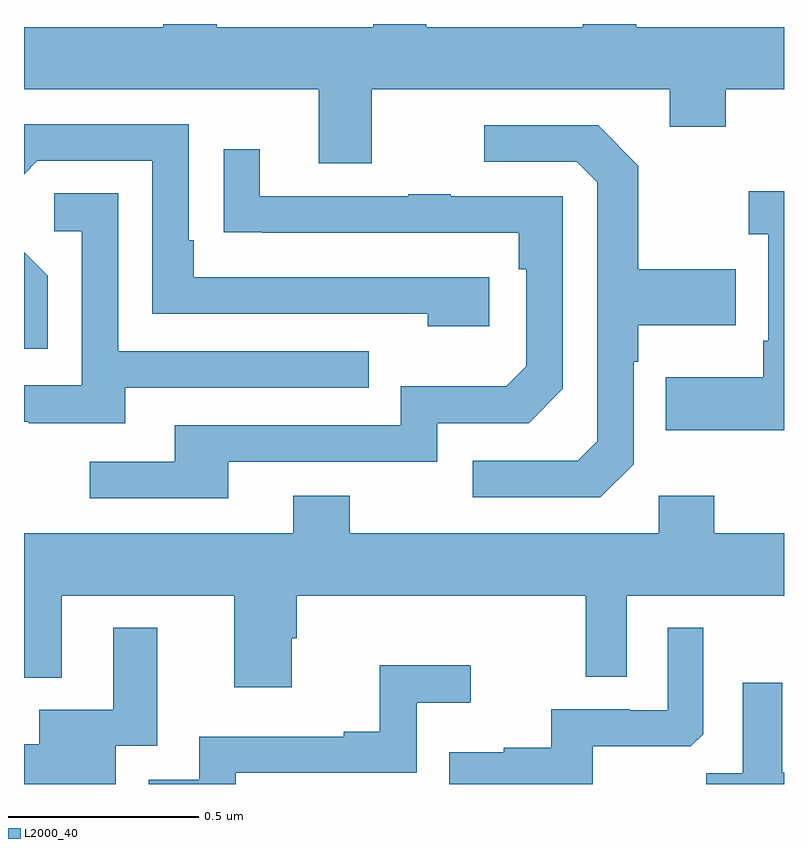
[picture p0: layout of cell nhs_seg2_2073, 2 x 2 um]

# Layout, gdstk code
import gdstk
lib = gdstk.Library(unit=1e-6, precision=1e-09)
def P(c, l, *ps):  # polygons
    for p in ps: c.add(gdstk.Polygon(p, *l))
L2000_40 = (2000, 40)

nhs_seg2_2073 = lib.new_cell('nhs_seg2_2073')
P(nhs_seg2_2073, L2000_40, [(136.915,655.628),(137.699,655.628),(137.699,655.529),(137.847,655.529),(137.847,655.628),(138,655.628),(138,655.792),(137.611,655.792),(137.611,655.8),(137.471,655.8),(137.471,655.792),(137.059,655.792),(137.059,655.8),(136.919,655.8),(136.919,655.792),(136.507,655.792),(136.507,655.8),(136.367,655.8),(136.367,655.792),(136,655.792),(136,655.628),(136.775,655.628),(136.775,655.434),(136.915,655.434)],
  [(137.224,655.134),(136.447,655.134),(136.447,655.231),(136.434,655.231),(136.434,655.536),(136,655.536),(136,655.405),(136.035,655.44),(136.338,655.44),(136.338,655.038),(137.063,655.038),(137.063,655.004),(137.224,655.004)],
  [(137.604,654.642),(137.604,654.911),(137.617,654.911),(137.617,655.007),(137.873,655.007),(137.873,655.155),(137.617,655.155),(137.617,655.427),(137.511,655.533),(137.211,655.533),(137.211,655.437),(137.454,655.437),(137.508,655.383),(137.508,654.702),(137.457,654.651),(137.181,654.651),(137.181,654.555),(137.517,654.555)],
  [(136.537,654.648),(137.088,654.648),(137.088,654.75),(137.328,654.75),(137.418,654.84),(137.418,655.347),(137.123,655.347),(137.123,655.352),(137.011,655.352),(137.011,655.347),(136.621,655.347),(136.621,655.471),(136.525,655.471),(136.525,655.252),(136.627,655.252),(136.627,655.251),(137.302,655.251),(137.302,655.154),(137.322,655.154),(137.322,654.9),(137.269,654.847),(136.992,654.847),(136.992,654.744),(136.397,654.744),(136.397,654.648),(136.173,654.648),(136.173,654.552),(136.537,654.552)],
  [(138,655.36),(137.907,655.36),(137.907,655.247),(137.958,655.247),(137.958,654.967),(137.946,654.967),(137.946,654.871),(137.689,654.871),(137.689,654.731),(138,654.731)],
  [(136.267,654.843),(136.907,654.843),(136.907,654.939),(136.248,654.939),(136.248,655.355),(136.08,655.355),(136.08,655.254),(136.152,655.254),(136.152,654.849),(136,654.849),(136,654.753),(136.013,654.753),(136.013,654.749),(136.267,654.749)],
  [(136.062,655.138),(136,655.2),(136,654.945),(136.062,654.945)],
  [(136.705,654.183),(136.718,654.183),(136.718,654.296),(137.478,654.296),(137.478,654.082),(137.586,654.082),(137.586,654.296),(138,654.296),(138,654.46),(137.817,654.46),(137.817,654.559),(137.67,654.559),(137.67,654.46),(136.857,654.46),(136.857,654.559),(136.709,654.559),(136.709,654.46),(136,654.46),(136,654.08),(136.099,654.08),(136.099,654.296),(136.553,654.296),(136.553,654.054),(136.705,654.054)],
  [(137.497,653.9),(137.755,653.9),(137.787,653.931),(137.787,654.211),(137.694,654.211),(137.694,653.994),(137.594,653.994),(137.594,653.997),(137.387,653.997),(137.387,653.896),(137.263,653.896),(137.263,653.884),(137.119,653.884),(137.119,653.8),(137.497,653.8)],
  [(136.242,653.901),(136.351,653.901),(136.351,654.211),(136.235,654.211),(136.235,653.995),(136.04,653.995),(136.04,653.904),(136,653.904),(136,653.8),(136.242,653.8)],
  [(136.557,653.829),(137.034,653.829),(137.034,654.014),(137.176,654.014),(137.176,654.113),(136.936,654.113),(136.936,653.938),(136.841,653.938),(136.841,653.925),(136.461,653.925),(136.461,653.811),(136.328,653.811),(136.328,653.8),(136.557,653.8)],
  [(138,653.83),(137.995,653.83),(137.995,654.067),(137.891,654.067),(137.891,653.828),(137.796,653.828),(137.796,653.8),(138,653.8)])

lib.write_gds('nhs_seg2_2073.gds')
